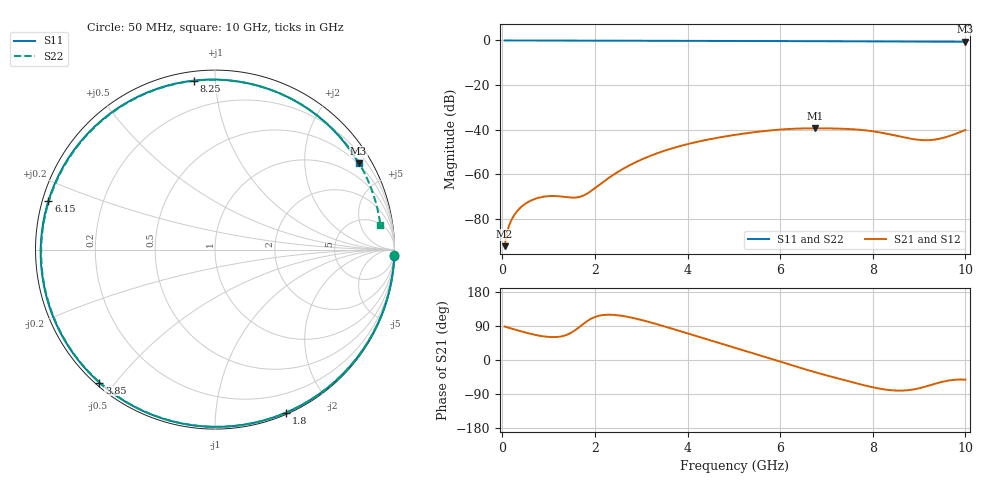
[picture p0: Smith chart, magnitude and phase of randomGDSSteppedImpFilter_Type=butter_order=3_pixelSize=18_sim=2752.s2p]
! freq	dB(S11)	phase(S11)	dB(S12)	phase(S12)
!  dB(S21)	phase(S21)	dB(S22)	phase(S22)
!S-par simulation data
#  GHz  S  DB  R 50
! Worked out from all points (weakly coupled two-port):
!   200 points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, 50 MHz to 10 GHz, reference 50 ohm
!   highest |S21| = -39.45 dB at 6.75 GHz (marker M1); lowest = -92.4 dB at 50 MHz (marker M2)
!   lowest |S11| = -0.6 dB at 10 GHz (marker M3), VSWR 29.02, Z = 23.7 + j177 ohm
!   |S11| at or under -10 dB: nowhere
!   |S22| runs from -0.6 to 0.0 dB; largest |S21 - S12| = 0
!   S11 on the Smith chart (normalised r, x): 50 MHz: 1, -59; 1.8 GHz: 0.02, -1.53; 3.85 GHz: 0.01, -0.46; 6.15 GHz: 0.02, +0.14; 8.25 GHz: 0.05, +0.88; 10 GHz: 0.47, +3.54
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0.05  -0.00 -1.9  -92.38 88.3  -92.38 88.3  -0.00 -1.7
0.2  -0.01 -7.7  -80.52 83.0  -80.52 83.0  -0.01 -6.9
0.45  -0.02 -17.2  -74.04 74.1  -74.04 74.1  -0.02 -15.4
0.75  -0.03 -28.5  -70.84 65.3  -70.84 65.3  -0.03 -25.6
1.25  -0.06 -47.0  -70.02 61.8  -70.02 61.8  -0.05 -42.4
1.75  -0.08 -64.7  -69.67 95.2  -69.67 95.2  -0.07 -58.8
1.8  -0.08 -66.4  -69.15 99.8  -69.15 99.8  -0.08 -60.4
2.6  -0.11 -93.0  -57.75 116.2  -57.75 116.2  -0.11 -85.9
3.4  -0.14 -117.7  -50.25 92.3  -50.25 92.3  -0.14 -110.7
3.85  -0.16 -131.0  -47.37 75.8  -47.37 75.8  -0.16 -124.4
5.05  -0.22 -165.0  -42.32 31.4  -42.32 31.4  -0.23 -161.2
5.6  -0.25 179.5  -40.81 11.0  -40.81 11.0  -0.28 -178.8
6.15  -0.29 163.8  -39.80 -9.9  -39.80 -9.9  -0.32 162.8
6.7  -0.33 147.5  -39.46 -30.3  -39.46 -30.3  -0.37 143.4
6.75  -0.34 146.0  -39.45 -32.1  -39.45 -32.1  -0.37 141.6
7.55  -0.40 120.9  -39.85 -58.4  -39.85 -58.4  -0.44 111.0
8.25  -0.45 97.2  -41.67 -77.7  -41.67 -77.7  -0.49 82.2
8.35  -0.46 93.6  -42.08 -79.2  -42.08 -79.2  -0.50 78.0
8.75  -0.49 79.1  -43.84 -79.8  -43.84 -79.8  -0.53 60.9
9.2  -0.53 62.2  -44.79 -68.0  -44.79 -68.0  -0.55 41.7
9.55  -0.56 48.7  -43.58 -56.2  -43.58 -56.2  -0.58 26.9
10  -0.60 31.0  -40.21 -51.7  -40.21 -51.7  -0.61 8.6
